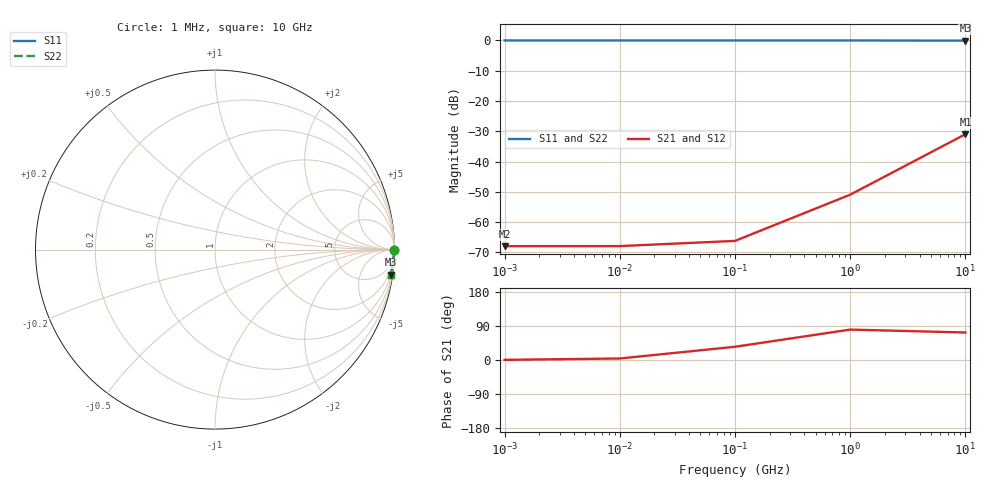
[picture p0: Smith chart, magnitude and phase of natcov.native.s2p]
! Sonnet Data File
! From: em Version : 18.53-Lite
! From Project: natcov
! Data is NOT De-embedded
! Data File Written: 10/12/2026 13:00:57
!< HDATE 10/12/2026 13:00:57
!< MDATE 10/12/2026 13:00:57
# GHZ S RI R 50.00000
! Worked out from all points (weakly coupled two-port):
!   5 points, 1 MHz to 10 GHz, reference 50 ohm
!   highest |S21| = -30.98 dB at 10 GHz (marker M1); lowest = -68.0 dB at 1 MHz (marker M2)
!   lowest |S11| = -0.1 dB at 10 GHz (marker M3), VSWR 221.11, Z = 44.6 - j699 ohm
!   |S11| at or under -10 dB: nowhere
!   |S22| runs from -0.1 to 0.0 dB; largest |S21 - S12| = 1e-14
0.001  0.9996 -1.42e-05  0.0004 2.79e-06  0.0004 2.79e-06  0.9996 -1.42e-05
0.01  0.9996 -0.000142  0.0004 2.79e-05  0.0004 2.79e-05  0.9996 -0.000142
0.1  0.9996 -0.00142  0.0004 0.000279  0.0004 0.000279  0.9996 -0.00142
1  0.9994 -0.0142  0.00048 0.00279  0.00048 0.00279  0.9994 -0.0142
10  0.981 -0.1405  0.00847 0.0269  0.00847 0.0269  0.981 -0.1405
